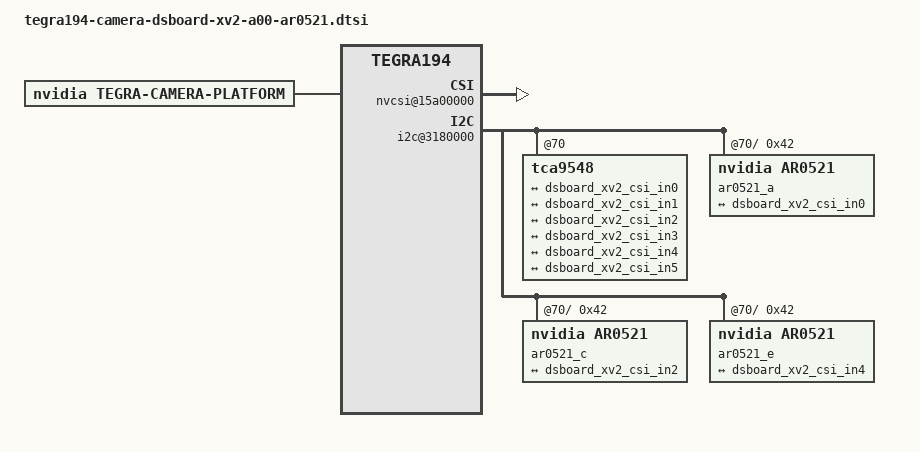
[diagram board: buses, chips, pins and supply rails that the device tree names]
/*
 * Copyright (c) 2015-2019, NVIDIA CORPORATION.  All rights reserved.
 *
 * This program is free software; you can redistribute it and/or modify
 * it under the terms of the GNU General Public License as published by
 * the Free Software Foundation; either version 2 of the License, or
 * (at your option) any later version.
 *
 * This program is distributed in the hope that it will be useful, but WITHOUT
 * ANY WARRANTY; without even the implied warranty of MERCHANTABILITY or
 * FITNESS FOR A PARTICULAR PURPOSE.  See the GNU General Public License for
 * more details.
 *
 * You should have received a copy of the GNU General Public License
 * along with this program.  If not, see <http://www.gnu.org/licenses/>.
 */

/ {
	host1x {
		vi@15c10000 {
			num-channels = <6>;
			ports {
				#address-cells = <1>;
				#size-cells = <0>;
				port@0 {
					status = "okay";
					reg = <0>;
					dsboard_xv2_vi_in0: endpoint {
						status = "okay";
						port-index = <0>;
						bus-width = <2>;
						remote-endpoint = <&dsboard_xv2_csi_out0>;
					};
				};
				port@1 {
					status = "disabled";
					reg = <1>;
					dsboard_xv2_vi_in1: endpoint {
						status = "disabled";
						port-index = <1>;
						bus-width = <2>;
						remote-endpoint = <&dsboard_xv2_csi_out1>;
					};
				};
				port@2 {
					status = "okay";
					reg = <2>;
					dsboard_xv2_vi_in2: endpoint {
						status = "okay";
						port-index = <2>;
						bus-width = <2>;
						remote-endpoint = <&dsboard_xv2_csi_out2>;
					};
				};
				port@3 {
					status = "disabled";
					reg = <3>;
					dsboard_xv2_vi_in3: endpoint {
						status = "disabled";
						port-index = <3>;
						bus-width = <2>;
						remote-endpoint = <&dsboard_xv2_csi_out3>;
					};
				};
				port@4 {
					status = "okay";
					reg = <4>;
					dsboard_xv2_vi_in4: endpoint {
						status = "okay";
						port-index = <4>;
						bus-width = <2>;
						remote-endpoint = <&dsboard_xv2_csi_out4>;
					};
				};
				port@5 {
					status="disabled";
					reg = <5>;
					dsboard_xv2_vi_in5: endpoint {
						status="disabled";
						port-index = <5>;
						bus-width = <2>;
						remote-endpoint = <&dsboard_xv2_csi_out5>;
					};
				};
			};
		};

		nvcsi@15a00000 {
			num-channels = <6>;
			#address-cells = <1>;
			#size-cells = <0>;
			status = "okay";
			channel@0 {
				status = "okay";
				reg = <0>;
				ports {
					#address-cells = <1>;
					#size-cells = <0>;
					port@0 {
						status = "okay";
						reg = <0>;
						dsboard_xv2_csi_in0: endpoint@0 {
							status = "okay";
							port-index = <0>;
							bus-width = <2>;
							remote-endpoint = <&dsboard_xv2_ar0521_out0>;
						};
					};
					port@1 {
						status = "okay";
						reg = <1>;
						dsboard_xv2_csi_out0: endpoint@1 {
							status = "okay";
							remote-endpoint = <&dsboard_xv2_vi_in0>;
						};
					};
				};
			};
			channel@1 {
				status = "disabled";
				reg = <1>;
				ports {
					#address-cells = <1>;
					#size-cells = <0>;
					port@0 {
						status = "disabled";
						reg = <0>;
						dsboard_xv2_csi_in1: endpoint@2 {
							status = "disabled";
							port-index = <1>;
							bus-width = <2>;
							remote-endpoint = <&dsboard_xv2_ar0521_out1>;
						};
					};
					port@1 {
						status = "disabled";
						reg = <1>;
						dsboard_xv2_csi_out1: endpoint@3 {
							status = "disabled";
							remote-endpoint = <&dsboard_xv2_vi_in1>;
						};
					};
				};
			};
			channel@2 {
				status = "okay";
				reg = <2>;
				ports {
					#address-cells = <1>;
					#size-cells = <0>;
					port@0 {
						status = "okay";
						reg = <0>;
						dsboard_xv2_csi_in2: endpoint@4 {
							status = "okay";
							port-index = <2>;
							bus-width = <2>;
							remote-endpoint = <&dsboard_xv2_ar0521_out2>;
						};
					};
					port@1 {
						status = "okay";
						reg = <1>;
						dsboard_xv2_csi_out2: endpoint@5 {
							status = "okay";
							remote-endpoint = <&dsboard_xv2_vi_in2>;
						};
					};
				};
			};
			channel@3 {
				status = "disabled";
				reg = <3>;
				ports {
					#address-cells = <1>;
					#size-cells = <0>;
					port@0 {
						status = "disabled";
						reg = <0>;
						dsboard_xv2_csi_in3: endpoint@6 {
							status = "disabled";
							port-index = <3>;
							bus-width = <2>;
							remote-endpoint = <&dsboard_xv2_ar0521_out3>;
						};
					};
					port@1 {
						status = "disabled";
						reg = <1>;
						dsboard_xv2_csi_out3: endpoint@7 {
							status = "disabled";
							remote-endpoint = <&dsboard_xv2_vi_in3>;
						};
					};
				};
			};
			channel@4 {
				status = "okay";
				reg = <4>;
				ports {
					#address-cells = <1>;
					#size-cells = <0>;
					port@0 {
						status = "okay";
						reg = <0>;
						dsboard_xv2_csi_in4: endpoint@8 {
							status = "okay";
							port-index = <4>;
							bus-width = <2>;
							remote-endpoint = <&dsboard_xv2_ar0521_out4>;
						};
					};
					port@1 {
						status = "okay";
						reg = <1>;
						dsboard_xv2_csi_out4: endpoint@9 {
							status = "okay";
							remote-endpoint = <&dsboard_xv2_vi_in4>;
						};
					};
				};
			};
			channel@5 { //in next board revision, the port-index should be updated to 6-G.
				status="disabled";
				reg = <5>;
				ports {
					#address-cells = <1>;
					#size-cells = <0>;
					port@0 {
						status="disabled";
						reg = <0>;
						dsboard_xv2_csi_in5: endpoint@10 {
							status="disabled";
							port-index = <5>;
							bus-width = <2>;
							remote-endpoint = <&dsboard_xv2_ar0521_out5>;
						};
					};
					port@1 {
						status="disabled";
						reg = <1>;
						dsboard_xv2_csi_out5: endpoint@11 {
							status="disabled";
							remote-endpoint = <&dsboard_xv2_vi_in5>;
						};
					};
				};
			};
		};
	};

	i2c@3180000 {
		tca9548@70 {
			i2c@0 {
				status = "okay";

				ar0521_a@42 {
					compatible = "nvidia,ar0521";
					/* I2C device address */
					reg = <0x42>;

					/* V4L2 device node location */
					devnode = "video0";
					status = "okay";

					/* Physical dimensions of sensor */
					physical_w = "3.680";
					physical_h = "2.760";

					sensor_model = "ar0521";

					//Default use_sensor_mode_id is false
					/*use_sensor_mode_id = "false";*/
					camera_mipi_lanes = <2>;
					disable-framesync;

					/**
					* ==== Modes ====
					* A modeX node is required to support v4l2 driver
					* implementation with NVIDIA camera software stack
					*
					* == Signal properties ==
					*
					* phy_mode = "";
					* PHY mode used by the MIPI lanes for this device
					*
					* tegra_sinterface = "";
					* CSI Serial interface connected to tegra
					* Incase of virtual HW devices, use virtual
					* For SW emulated devices, use host
					*
					* pix_clk_hz = "";
					* Sensor pixel clock used for calculations like exposure and framerate
					*
					* readout_orientation = "0";
					* Based on camera module orientation.
					* Only change readout_orientation if you specifically
					* Program a different readout order for this mode
					*
					* == Image format Properties ==
					*
					* active_w = "";
					* Pixel active region width
					*
					* active_h = "";
					* Pixel active region height
					*
					* pixel_t = "";
					* The sensor readout pixel pattern
					*
					* line_length = "";
					* Pixel line length (width) for sensor mode.
					*
					* == Source Control Settings ==
					*
					* Gain factor used to convert fixed point integer to float
					* Gain range [min_gain/gain_factor, max_gain/gain_factor]
					* Gain step [step_gain/gain_factor is the smallest step that can be configured]
					* Default gain [Default gain to be initialized for the control.
					*     use min_gain_val as default for optimal results]
					* Framerate factor used to convert fixed point integer to float
					* Framerate range [min_framerate/framerate_factor, max_framerate/framerate_factor]
					* Framerate step [step_framerate/framerate_factor is the smallest step that can be configured]
					* Default Framerate [Default framerate to be initialized for the control.
					*     use max_framerate to get required performance]
					* Exposure factor used to convert fixed point integer to float
					* For convenience use 1 sec = 1000000us as conversion factor
					* Exposure range [min_exp_time/exposure_factor, max_exp_time/exposure_factor]
					* Exposure step [step_exp_time/exposure_factor is the smallest step that can be configured]
					* Default Exposure Time [Default exposure to be initialized for the control.
					*     Set default exposure based on the default_framerate for optimal exposure settings]
					*
					* gain_factor = ""; (integer factor used for floating to fixed point conversion)
					* min_gain_val = ""; (ceil to integer)
					* max_gain_val = ""; (ceil to integer)
					* step_gain_val = ""; (ceil to integer)
					* default_gain = ""; (ceil to integer)
					* Gain limits for mode
					*
					* exposure_factor = ""; (integer factor used for floating to fixed point conversion)
					* min_exp_time = ""; (ceil to integer)
					* max_exp_time = ""; (ceil to integer)
					* step_exp_time = ""; (ceil to integer)
					* default_exp_time = ""; (ceil to integer)
					* Exposure Time limits for mode (sec)
					*
					* framerate_factor = ""; (integer factor used for floating to fixed point conversion)
					* min_framerate = ""; (ceil to integer)
					* max_framerate = ""; (ceil to integer)
					* step_framerate = ""; (ceil to integer)
					* default_framerate = ""; (ceil to integer)
					* Framerate limits for mode (fps)
					*
					* embedded_metadata_height = "";
					* Sensor embedded metadata height in units of rows.
					* If sensor does not support embedded metadata value should be 0.
					*/
					mode0 { /* AR0521_MODE_640x480_75FPS */
						mclk_khz = "48000";
						num_lanes = "2";
						tegra_sinterface = "serial_a";
						phy_mode = "DPHY";
						discontinuous_clk = "yes";
						dpcm_enable = "false";
						cil_settletime = "0";
						dynamic_pixel_bit_depth = "16";
						csi_pixel_bit_depth = "16";
						mode_type = "yuv";

						active_w = "640";
						active_h = "480";
						/* pixel_t = "uyvy";*/
						pixel_phase = "uyvy";
						readout_orientation = "0";
						line_length = "2000";
						inherent_gain = "1";
						mclk_multiplier = "18";
						pix_clk_hz = "1200000000";

						min_gain_val = "0";
						max_gain_val = "48"; /* 10.66x */
						step_gain_val = "1";
						default_gain = "16"; /* 1.00x */
						min_hdr_ratio = "1";
						max_hdr_ratio = "1";
						min_framerate = "1"; /* 2.0 fps */
						max_framerate = "75"; /* 21.0 fps */
						step_framerate = "1";
						default_framerate = "21000000"; /* 21.0 fps */
						min_exp_time = "1"; /* us */
						max_exp_time = "43000000"; /* us */

						embedded_metadata_height = "0";
					};
					mode1 { /* AR0521_MODE_1280x720_100FPS */
						mclk_khz = "48000";
						num_lanes = "2";
						tegra_sinterface = "serial_a";
						phy_mode = "DPHY";
						discontinuous_clk = "yes";
						dpcm_enable = "false";
						cil_settletime = "0";
						dynamic_pixel_bit_depth = "16";
						csi_pixel_bit_depth = "16";
						active_w = "1280";
						active_h = "720";
						pixel_phase = "uyvy";
						mode_type = "yuv";
						/*pixel_t = "bayer_rggb";*/
						readout_orientation = "0";
						line_length = "2000";
						inherent_gain = "1";
						mclk_multiplier = "18";
						pix_clk_hz = "1200000000";

						min_gain_val = "0"; /* 1.00x */
						max_gain_val = "48"; /* 10.66x */
						min_hdr_ratio = "1";
						max_hdr_ratio = "1";
						min_framerate = "1"; /* 2.0 fps */
						max_framerate = "100"; /* 28.0 fps */
						min_exp_time = "1"; /* us */
						max_exp_time = "430000"; /* us */

						embedded_metadata_height = "0";
					};
					mode2 { /* AR0521_MODE_1280x960_75FPS */
						mclk_khz = "48000";
						num_lanes = "2";
						tegra_sinterface = "serial_a";
						phy_mode = "DPHY";
						discontinuous_clk = "yes";
						dpcm_enable = "false";
						cil_settletime = "0";
						csi_pixel_bit_depth = "16";
						active_w = "1280";
						active_h = "960";
						/*pixel_t = "uyvy";*/
						pixel_phase = "uyvy";
						mode_type = "yuv";
						readout_orientation = "0";
						line_length = "2000";
						inherent_gain = "1";
						mclk_multiplier = "18";
						pix_clk_hz = "1200000000";

						min_gain_val = "0"; /* 1.00x */
						max_gain_val = "48"; /* 10.66x */
						min_hdr_ratio = "1";
						max_hdr_ratio = "1";
						min_framerate = "1"; /* 2.0 fps */
						max_framerate = "75"; /* 75.0 fps */
						default_framerate = "30000000"; /* 30.0 fps */
						min_exp_time = "13"; /* us */
						max_exp_time = "683709"; /* us */
						step_exp_time = "1";
						embedded_metadata_height = "0";
					};
					mode3 { /* AR0521_MODE_1920x1080_67FPS */
						mclk_khz = "48000";
						num_lanes = "2";
						tegra_sinterface = "serial_a";
						phy_mode = "DPHY";
						discontinuous_clk = "yes";
						dpcm_enable = "false";
						cil_settletime = "0";
						dynamic_pixel_bit_depth = "16";
						csi_pixel_bit_depth = "16";
						active_w = "1920";
						active_h = "1080";
						/* pixel_t = "uyvy";*/
						pixel_phase = "uyvy";
						mode_type = "yuv";
						readout_orientation = "0";
						line_length = "2000";
						inherent_gain = "1";
						mclk_multiplier = "18";
						pix_clk_hz = "1200000000";

						min_gain_val = "0";  /*dB*/
						max_gain_val = "48"; /*dB*/
						min_hdr_ratio = "1";
						max_hdr_ratio = "1";
						min_framerate = "1"; /* 1 fps */
						max_framerate = "67"; /* 67.0 fps */

						min_exp_time = "1";
						max_exp_time = "430000";

						embedded_metadata_height = "0";
					};
					mode4 { /* Ar0521_MODE_2560x1440_38FPS */
						mclk_khz = "48000";
						num_lanes = "2";
						tegra_sinterface = "serial_a";
						phy_mode = "DPHY";
						discontinuous_clk = "yes";
						dpcm_enable = "false";
						cil_settletime = "0";
						dynamic_pixel_bit_depth = "16";
						csi_pixel_bit_depth = "16";
						active_w = "2560";
						active_h = "1440";
						/* pixel_t = "uyvy"; */
						mode_type = "yuv";
						pixel_phase = "uyvy";
						readout_orientation = "0";
						line_length = "2000";
						inherent_gain = "1";
						mclk_multiplier = "18";
						pix_clk_hz = "1200000000";

						min_gain_val = "0";
						max_gain_val = "48"; /*dB*/
						min_hdr_ratio = "1";
						max_hdr_ratio = "1";
						min_framerate = "1"; /* 1 fps */
						max_framerate = "38"; /* 38fps */
						min_exp_time = "1"; /* us */
						max_exp_time = "430000"; /* us */
						embedded_metadata_height = "0";
					};
					mode5 { /* Ar0521_MODE_2592x1944_28FPS */
						mclk_khz = "48000";
						num_lanes = "2";
						tegra_sinterface = "serial_a";
						phy_mode = "DPHY";
						discontinuous_clk = "yes";
						dpcm_enable = "false";
						cil_settletime = "0";
						dynamic_pixel_bit_depth = "16";
						csi_pixel_bit_depth = "16";
						active_w = "2592";
						active_h = "1944";
						/* pixel_t = "uyvy"; */
						mode_type = "yuv";
						pixel_phase = "uyvy";
						readout_orientation = "0";
						line_length = "2000";
						inherent_gain = "1";
						mclk_multiplier = "18";
						pix_clk_hz = "1200000000";

						min_gain_val = "0";
						max_gain_val = "48"; /*dB*/
						min_hdr_ratio = "1";
						max_hdr_ratio = "1";
						min_framerate = "1"; /* 1 fps */
						max_framerate = "28"; /* 38fps */
						min_exp_time = "1"; /* us */
						max_exp_time = "430000"; /* us */
						embedded_metadata_height = "0";
					};

					ports {
						#address-cells = <1>;
						#size-cells = <0>;

						port@0 {
							status = "okay";
							reg = <0>;
							dsboard_xv2_ar0521_out0: endpoint {
								status = "okay";
								port-index = <0>;
								bus-width = <2>;
								remote-endpoint = <&dsboard_xv2_csi_in0>;
							};
						};
					};
				};
			};

			i2c@1 {
				ar0521_b@42 {
					compatible = "nvidia,ar0521";
					/* I2C device address */
					reg = <0x42>;

					/* V4L2 device node location */
					devnode = "video1";
					status = "disabled";

					/* Physical dimensions of sensor */
					physical_w = "3.680";
					physical_h = "2.760";

					sensor_model = "ar0521";
					camera_mipi_lanes = <2>;
					disable-framesync;
					// Default use_sensor_mode_id is false
					/*use_sensor_mode_id = "false";*/

					/**
					* ==== Modes ====
					* A modeX node is required to support v4l2 driver
					* implementation with NVIDIA camera software stack
					*
					* == Signal properties ==
					*
					* phy_mode = "";
					* PHY mode used by the MIPI lanes for this device
					*
					* tegra_sinterface = "";
					* CSI Serial interface connected to tegra
					* Incase of virtual HW devices, use virtual
					* For SW emulated devices, use host
					*
					* pix_clk_hz = "";
					* Sensor pixel clock used for calculations like exposure and framerate
					*
					* readout_orientation = "0";
					* Based on camera module orientation.
					* Only change readout_orientation if you specifically
					* Program a different readout order for this mode
					*
					* == Image format Properties ==
					*
					* active_w = "";
					* Pixel active region width
					*
					* active_h = "";
					* Pixel active region height
					*
					* pixel_t = "";
					* The sensor readout pixel pattern
					*
					* line_length = "";
					* Pixel line length (width) for sensor mode.
					*
					* == Source Control Settings ==
					*
					* Gain factor used to convert fixed point integer to float
					* Gain range [min_gain/gain_factor, max_gain/gain_factor]
					* Gain step [step_gain/gain_factor is the smallest step that can be configured]
					* Default gain [Default gain to be initialized for the control.
					*     use min_gain_val as default for optimal results]
					* Framerate factor used to convert fixed point integer to float
					* Framerate range [min_framerate/framerate_factor, max_framerate/framerate_factor]
					* Framerate step [step_framerate/framerate_factor is the smallest step that can be configured]
					* Default Framerate [Default framerate to be initialized for the control.
					*     use max_framerate to get required performance]
					* Exposure factor used to convert fixed point integer to float
					* For convenience use 1 sec = 1000000us as conversion factor
					* Exposure range [min_exp_time/exposure_factor, max_exp_time/exposure_factor]
					* Exposure step [step_exp_time/exposure_factor is the smallest step that can be configured]
					* Default Exposure Time [Default exposure to be initialized for the control.
					*     Set default exposure based on the default_framerate for optimal exposure settings]
					*
					* gain_factor = ""; (integer factor used for floating to fixed point conversion)
					* min_gain_val = ""; (ceil to integer)
					* max_gain_val = ""; (ceil to integer)
					* step_gain_val = ""; (ceil to integer)
					* default_gain = ""; (ceil to integer)
					* Gain limits for mode
					*
					* exposure_factor = ""; (integer factor used for floating to fixed point conversion)
					* min_exp_time = ""; (ceil to integer)
					* max_exp_time = ""; (ceil to integer)
					* step_exp_time = ""; (ceil to integer)
					* default_exp_time = ""; (ceil to integer)
					* Exposure Time limits for mode (sec)
					*
					* framerate_factor = ""; (integer factor used for floating to fixed point conversion)
					* min_framerate = ""; (ceil to integer)
					* max_framerate = ""; (ceil to integer)
					* step_framerate = ""; (ceil to integer)
					* default_framerate = ""; (ceil to integer)
					* Framerate limits for mode (fps)
					*
					* embedded_metadata_height = "";
					* Sensor embedded metadata height in units of rows.
					* If sensor does not support embedded metadata value should be 0.
					*/
					mode0 { /* AR0521_MODE_640x480_75FPS */
						mclk_khz = "48000";
						num_lanes = "2";
						tegra_sinterface = "serial_b";
						phy_mode = "DPHY";
						discontinuous_clk = "yes";
						dpcm_enable = "false";
						cil_settletime = "0";
						dynamic_pixel_bit_depth = "16";
						csi_pixel_bit_depth = "16";
						mode_type = "yuv";

						active_w = "640";
						active_h = "480";
						/* pixel_t = "uyvy";*/
						pixel_phase = "uyvy";
						readout_orientation = "0";
						line_length = "2000";
						inherent_gain = "1";
						mclk_multiplier = "18";
						pix_clk_hz = "1200000000";

						min_gain_val = "0";
						max_gain_val = "48"; /* 10.66x */
						step_gain_val = "1";
						default_gain = "16"; /* 1.00x */
						min_hdr_ratio = "1";
						max_hdr_ratio = "1";
						min_framerate = "1"; /* 2.0 fps */
						max_framerate = "75"; /* 21.0 fps */
						step_framerate = "1";
						default_framerate = "21000000"; /* 21.0 fps */
						min_exp_time = "1"; /* us */
						max_exp_time = "43000000"; /* us */

						embedded_metadata_height = "0";
					};
					mode1 { /* AR0521_MODE_1280x720_100FPS */
						mclk_khz = "48000";
						num_lanes = "2";
						tegra_sinterface = "serial_b";
						phy_mode = "DPHY";
						discontinuous_clk = "yes";
						dpcm_enable = "false";
						cil_settletime = "0";
						dynamic_pixel_bit_depth = "16";
						csi_pixel_bit_depth = "16";
						active_w = "1280";
						active_h = "720";
						pixel_phase = "uyvy";
						mode_type = "yuv";
						/*pixel_t = "bayer_rggb";*/
						readout_orientation = "0";
						line_length = "2000";
						inherent_gain = "1";
						mclk_multiplier = "18";
						pix_clk_hz = "1200000000";

						min_gain_val = "0"; /* 1.00x */
						max_gain_val = "48"; /* 10.66x */
						min_hdr_ratio = "1";
						max_hdr_ratio = "1";
						min_framerate = "1"; /* 2.0 fps */
						max_framerate = "100"; /* 28.0 fps */
						min_exp_time = "1"; /* us */
						max_exp_time = "430000"; /* us */

						embedded_metadata_height = "0";
					};
					mode2 { /* AR0521_MODE_1280x960_75FPS */
						mclk_khz = "48000";
						num_lanes = "2";
						tegra_sinterface = "serial_b";
						phy_mode = "DPHY";
						discontinuous_clk = "yes";
						dpcm_enable = "false";
						cil_settletime = "0";
						csi_pixel_bit_depth = "16";
						active_w = "1280";
						active_h = "960";
						/*pixel_t = "uyvy";*/
						pixel_phase = "uyvy";
						mode_type = "yuv";
						readout_orientation = "0";
						line_length = "2000";
						inherent_gain = "1";
						mclk_multiplier = "18";
						pix_clk_hz = "1200000000";

						min_gain_val = "0"; /* 1.00x */
						max_gain_val = "48"; /* 10.66x */
						min_hdr_ratio = "1";
						max_hdr_ratio = "1";
						min_framerate = "1"; /* 2.0 fps */
						max_framerate = "75"; /* 75.0 fps */
						default_framerate = "30000000"; /* 30.0 fps */
						min_exp_time = "13"; /* us */
						max_exp_time = "683709"; /* us */
						step_exp_time = "1";
						embedded_metadata_height = "0";
					};
					mode3 { /* AR0521_MODE_1920x1080_67FPS */
						mclk_khz = "48000";
						num_lanes = "2";
						tegra_sinterface = "serial_b";
						phy_mode = "DPHY";
						discontinuous_clk = "yes";
						dpcm_enable = "false";
						cil_settletime = "0";
						dynamic_pixel_bit_depth = "16";
						csi_pixel_bit_depth = "16";
						active_w = "1920";
						active_h = "1080";
						/* pixel_t = "uyvy";*/
						pixel_phase = "uyvy";
						mode_type = "yuv";
						readout_orientation = "0";
						line_length = "2000";
						inherent_gain = "1";
						mclk_multiplier = "18";
						pix_clk_hz = "1200000000";

						min_gain_val = "0";  /*dB*/
						max_gain_val = "48"; /*dB*/
						min_hdr_ratio = "1";
						max_hdr_ratio = "1";
						min_framerate = "1"; /* 1 fps */
						max_framerate = "67"; /* 67.0 fps */

						min_exp_time = "1";
						max_exp_time = "430000";

						embedded_metadata_height = "0";
					};
					mode4 { /* Ar0521_MODE_2560x1440_38FPS */
						mclk_khz = "48000";
						num_lanes = "2";
						tegra_sinterface = "serial_b";
						phy_mode = "DPHY";
						discontinuous_clk = "yes";
						dpcm_enable = "false";
						cil_settletime = "0";
						dynamic_pixel_bit_depth = "16";
						csi_pixel_bit_depth = "16";
						active_w = "2560";
						active_h = "1440";
						/* pixel_t = "uyvy"; */
						mode_type = "yuv";
						pixel_phase = "uyvy";
						readout_orientation = "0";
						line_length = "2000";
						inherent_gain = "1";
						mclk_multiplier = "18";
						pix_clk_hz = "1200000000";

						min_gain_val = "0";
						max_gain_val = "48"; /*dB*/
						min_hdr_ratio = "1";
						max_hdr_ratio = "1";
						min_framerate = "1"; /* 1 fps */
						max_framerate = "38"; /* 38fps */
						min_exp_time = "1"; /* us */
						max_exp_time = "430000"; /* us */
						embedded_metadata_height = "0";
					};
					mode5 { /* Ar0521_MODE_2592x1944_28FPS */
						mclk_khz = "48000";
						num_lanes = "2";
						tegra_sinterface = "serial_b";
						phy_mode = "DPHY";
						discontinuous_clk = "yes";
						dpcm_enable = "false";
						cil_settletime = "0";
						dynamic_pixel_bit_depth = "16";
						csi_pixel_bit_depth = "16";
						active_w = "2592";
						active_h = "1944";
						/* pixel_t = "uyvy"; */
						mode_type = "yuv";
						pixel_phase = "uyvy";
						readout_orientation = "0";
						line_length = "2000";
						inherent_gain = "1";
						mclk_multiplier = "18";
						pix_clk_hz = "1200000000";

						min_gain_val = "0";
						max_gain_val = "48"; /*dB*/
						min_hdr_ratio = "1";
						max_hdr_ratio = "1";
						min_framerate = "1"; /* 1 fps */
						max_framerate = "28"; /* 38fps */
						min_exp_time = "1"; /* us */
						max_exp_time = "430000"; /* us */
						embedded_metadata_height = "0";
					};

					ports {
						#address-cells = <1>;
						#size-cells = <0>;

						port@0 {
							reg = <0>;
							dsboard_xv2_ar0521_out1: endpoint {
								port-index = <1>;
								bus-width = <2>;
								remote-endpoint = <&dsboard_xv2_csi_in1>;
							};
						};
					};
				};
			};

			i2c@2 {
				ar0521_c@42 {
					compatible = "nvidia,ar0521";
					/* I2C device address */
					reg = <0x42>;

					/* V4L2 device node location */
					devnode = "video2";
					status = "okay";

					/* Physical dimensions of sensor */
					physical_w = "3.680";
					physical_h = "2.760";

					sensor_model = "ar0521";
					camera_mipi_lanes = <2>;
					disable-framesync;
					// Default use_sensor_mode_id is false
					/*use_sensor_mode_id = "false";*/

					/**
					* ==== Modes ====
					* A modeX node is required to support v4l2 driver
					* implementation with NVIDIA camera software stack
					*
					* == Signal properties ==
					*
					* phy_mode = "";
					* PHY mode used by the MIPI lanes for this device
					*
					* tegra_sinterface = "";
					* CSI Serial interface connected to tegra
					* Incase of virtual HW devices, use virtual
					* For SW emulated devices, use host
					*
					* pix_clk_hz = "";
					* Sensor pixel clock used for calculations like exposure and framerate
					*
					* readout_orientation = "0";
					* Based on camera module orientation.
					* Only change readout_orientation if you specifically
					* Program a different readout order for this mode
					*
					* == Image format Properties ==
					*
					* active_w = "";
					* Pixel active region width
					*
					* active_h = "";
					* Pixel active region height
					*
					* pixel_t = "";
					* The sensor readout pixel pattern
					*
					* line_length = "";
					* Pixel line length (width) for sensor mode.
					*
					* == Source Control Settings ==
					*
					* Gain factor used to convert fixed point integer to float
					* Gain range [min_gain/gain_factor, max_gain/gain_factor]
					* Gain step [step_gain/gain_factor is the smallest step that can be configured]
					* Default gain [Default gain to be initialized for the control.
					*     use min_gain_val as default for optimal results]
					* Framerate factor used to convert fixed point integer to float
					* Framerate range [min_framerate/framerate_factor, max_framerate/framerate_factor]
					* Framerate step [step_framerate/framerate_factor is the smallest step that can be configured]
					* Default Framerate [Default framerate to be initialized for the control.
					*     use max_framerate to get required performance]
					* Exposure factor used to convert fixed point integer to float
					* For convenience use 1 sec = 1000000us as conversion factor
					* Exposure range [min_exp_time/exposure_factor, max_exp_time/exposure_factor]
					* Exposure step [step_exp_time/exposure_factor is the smallest step that can be configured]
					* Default Exposure Time [Default exposure to be initialized for the control.
					*     Set default exposure based on the default_framerate for optimal exposure settings]
					*
					* gain_factor = ""; (integer factor used for floating to fixed point conversion)
					* min_gain_val = ""; (ceil to integer)
					* max_gain_val = ""; (ceil to integer)
					* step_gain_val = ""; (ceil to integer)
					* default_gain = ""; (ceil to integer)
					* Gain limits for mode
					*
					* exposure_factor = ""; (integer factor used for floating to fixed point conversion)
					* min_exp_time = ""; (ceil to integer)
					* max_exp_time = ""; (ceil to integer)
					* step_exp_time = ""; (ceil to integer)
					* default_exp_time = ""; (ceil to integer)
					* Exposure Time limits for mode (sec)
					*
					* framerate_factor = ""; (integer factor used for floating to fixed point conversion)
					* min_framerate = ""; (ceil to integer)
					* max_framerate = ""; (ceil to integer)
					* step_framerate = ""; (ceil to integer)
					* default_framerate = ""; (ceil to integer)
					* Framerate limits for mode (fps)
					*
					* embedded_metadata_height = "";
					* Sensor embedded metadata height in units of rows.
					* If sensor does not support embedded metadata value should be 0.
					*/
					mode0 { /* AR0521_MODE_640x480_75FPS */
						mclk_khz = "48000";
						num_lanes = "2";
						tegra_sinterface = "serial_c";
						phy_mode = "DPHY";
						discontinuous_clk = "yes";
						dpcm_enable = "false";
						cil_settletime = "0";
						dynamic_pixel_bit_depth = "16";
						csi_pixel_bit_depth = "16";
						mode_type = "yuv";

						active_w = "640";
						active_h = "480";
						/* pixel_t = "uyvy";*/
						pixel_phase = "uyvy";
						readout_orientation = "0";
						line_length = "2000";
						inherent_gain = "1";
						mclk_multiplier = "18";
						pix_clk_hz = "1200000000";

						min_gain_val = "0";
						max_gain_val = "48"; /* 10.66x */
						step_gain_val = "1";
						default_gain = "16"; /* 1.00x */
						min_hdr_ratio = "1";
						max_hdr_ratio = "1";
						min_framerate = "1"; /* 2.0 fps */
						max_framerate = "75"; /* 21.0 fps */
						step_framerate = "1";
						default_framerate = "21000000"; /* 21.0 fps */
						min_exp_time = "1"; /* us */
						max_exp_time = "43000000"; /* us */

						embedded_metadata_height = "0";
					};
					mode1 { /* AR0521_MODE_1280x720_100FPS */
						mclk_khz = "48000";
						num_lanes = "2";
						tegra_sinterface = "serial_c";
						phy_mode = "DPHY";
						discontinuous_clk = "yes";
						dpcm_enable = "false";
						cil_settletime = "0";
						dynamic_pixel_bit_depth = "16";
						csi_pixel_bit_depth = "16";
						active_w = "1280";
						active_h = "720";
						pixel_phase = "uyvy";
						mode_type = "yuv";
						/*pixel_t = "bayer_rggb";*/
						readout_orientation = "0";
						line_length = "2000";
						inherent_gain = "1";
						mclk_multiplier = "18";
						pix_clk_hz = "1200000000";

						min_gain_val = "0"; /* 1.00x */
						max_gain_val = "48"; /* 10.66x */
						min_hdr_ratio = "1";
						max_hdr_ratio = "1";
						min_framerate = "1"; /* 2.0 fps */
						max_framerate = "100"; /* 28.0 fps */
						min_exp_time = "1"; /* us */
						max_exp_time = "430000"; /* us */

						embedded_metadata_height = "0";
					};
					mode2 { /* AR0521_MODE_1280x960_75FPS */
						mclk_khz = "48000";
						num_lanes = "2";
						tegra_sinterface = "serial_c";
						phy_mode = "DPHY";
						discontinuous_clk = "yes";
						dpcm_enable = "false";
						cil_settletime = "0";
						csi_pixel_bit_depth = "16";
						active_w = "1280";
						active_h = "960";
						/*pixel_t = "uyvy";*/
						pixel_phase = "uyvy";
						mode_type = "yuv";
						readout_orientation = "0";
						line_length = "2000";
						inherent_gain = "1";
						mclk_multiplier = "18";
						pix_clk_hz = "1200000000";

						min_gain_val = "0"; /* 1.00x */
						max_gain_val = "48"; /* 10.66x */
						min_hdr_ratio = "1";
						max_hdr_ratio = "1";
						min_framerate = "1"; /* 2.0 fps */
						max_framerate = "75"; /* 75.0 fps */
						default_framerate = "30000000"; /* 30.0 fps */
						min_exp_time = "13"; /* us */
						max_exp_time = "683709"; /* us */
						step_exp_time = "1";
						embedded_metadata_height = "0";
					};
					mode3 { /* AR0521_MODE_1920x1080_67FPS */
						mclk_khz = "48000";
						num_lanes = "2";
						tegra_sinterface = "serial_c";
						phy_mode = "DPHY";
						discontinuous_clk = "yes";
						dpcm_enable = "false";
						cil_settletime = "0";
						dynamic_pixel_bit_depth = "16";
						csi_pixel_bit_depth = "16";
						active_w = "1920";
						active_h = "1080";
						/* pixel_t = "uyvy";*/
						pixel_phase = "uyvy";
						mode_type = "yuv";
						readout_orientation = "0";
						line_length = "2000";
						inherent_gain = "1";
						mclk_multiplier = "18";
						pix_clk_hz = "1200000000";

						min_gain_val = "0";  /*dB*/
						max_gain_val = "48"; /*dB*/
						min_hdr_ratio = "1";
						max_hdr_ratio = "1";
						min_framerate = "1"; /* 1 fps */
						max_framerate = "67"; /* 67.0 fps */

						min_exp_time = "1";
						max_exp_time = "430000";

						embedded_metadata_height = "0";
					};
					mode4 { /* Ar0521_MODE_2560x1440_38FPS */
						mclk_khz = "48000";
						num_lanes = "2";
						tegra_sinterface = "serial_c";
						phy_mode = "DPHY";
						discontinuous_clk = "yes";
						dpcm_enable = "false";
						cil_settletime = "0";
						dynamic_pixel_bit_depth = "16";
						csi_pixel_bit_depth = "16";
						active_w = "2560";
						active_h = "1440";
						/* pixel_t = "uyvy"; */
						mode_type = "yuv";
						pixel_phase = "uyvy";
						readout_orientation = "0";
						line_length = "2000";
						inherent_gain = "1";
						mclk_multiplier = "18";
						pix_clk_hz = "1200000000";

						min_gain_val = "0";
						max_gain_val = "48"; /*dB*/
						min_hdr_ratio = "1";
						max_hdr_ratio = "1";
						min_framerate = "1"; /* 1 fps */
						max_framerate = "38"; /* 38fps */
						min_exp_time = "1"; /* us */
						max_exp_time = "430000"; /* us */
						embedded_metadata_height = "0";
					};
					mode5 { /* Ar0521_MODE_2592x1944_28FPS */
						mclk_khz = "48000";
						num_lanes = "2";
						tegra_sinterface = "serial_c";
						phy_mode = "DPHY";
						discontinuous_clk = "yes";
						dpcm_enable = "false";
						cil_settletime = "0";
						dynamic_pixel_bit_depth = "16";
						csi_pixel_bit_depth = "16";
						active_w = "2592";
						active_h = "1944";
						/* pixel_t = "uyvy"; */
						mode_type = "yuv";
						pixel_phase = "uyvy";
						readout_orientation = "0";
						line_length = "2000";
						inherent_gain = "1";
						mclk_multiplier = "18";
						pix_clk_hz = "1200000000";

						min_gain_val = "0";
						max_gain_val = "48"; /*dB*/
						min_hdr_ratio = "1";
						max_hdr_ratio = "1";
						min_framerate = "1"; /* 1 fps */
						max_framerate = "28"; /* 38fps */
						min_exp_time = "1"; /* us */
						max_exp_time = "430000"; /* us */
						embedded_metadata_height = "0";
					};

					ports {
						#address-cells = <1>;
						#size-cells = <0>;

						port@0 {
							reg = <0>;
							dsboard_xv2_ar0521_out2: endpoint {
								port-index = <2>;
								bus-width = <2>;
								remote-endpoint = <&dsboard_xv2_csi_in2>;
							};
						};
					};
				};
			};

			i2c@3 {
				ar0521_d@42 {
					compatible = "nvidia,ar0521";
					/* I2C device address */
					reg = <0x42>;

					/* V4L2 device node location */
					devnode = "video3";
					status = "disabled";

					/* Physical dimensions of sensor */
					physical_w = "3.680";
					physical_h = "2.760";

					sensor_model = "ar0521";
					camera_mipi_lanes = <2>;
					disable-framesync;
					// Default use_sensor_mode_id is false
					/*use_sensor_mode_id = "false";*/

					/**
					* ==== Modes ====
					* A modeX node is required to support v4l2 driver
					* implementation with NVIDIA camera software stack
					*
					* == Signal properties ==
					*
					* phy_mode = "";
					* PHY mode used by the MIPI lanes for this device
					*
					* tegra_sinterface = "";
					* CSI Serial interface connected to tegra
					* Incase of virtual HW devices, use virtual
					* For SW emulated devices, use host
					*
					* pix_clk_hz = "";
					* Sensor pixel clock used for calculations like exposure and framerate
					*
					* readout_orientation = "0";
					* Based on camera module orientation.
					* Only change readout_orientation if you specifically
					* Program a different readout order for this mode
					*
					* == Image format Properties ==
					*
					* active_w = "";
					* Pixel active region width
					*
					* active_h = "";
					* Pixel active region height
					*
					* pixel_t = "";
					* The sensor readout pixel pattern
					*
					* line_length = "";
					* Pixel line length (width) for sensor mode.
					*
					* == Source Control Settings ==
					*
					* Gain factor used to convert fixed point integer to float
					* Gain range [min_gain/gain_factor, max_gain/gain_factor]
					* Gain step [step_gain/gain_factor is the smallest step that can be configured]
					* Default gain [Default gain to be initialized for the control.
					*     use min_gain_val as default for optimal results]
					* Framerate factor used to convert fixed point integer to float
					* Framerate range [min_framerate/framerate_factor, max_framerate/framerate_factor]
					* Framerate step [step_framerate/framerate_factor is the smallest step that can be configured]
					* Default Framerate [Default framerate to be initialized for the control.
					*     use max_framerate to get required performance]
					* Exposure factor used to convert fixed point integer to float
					* For convenience use 1 sec = 1000000us as conversion factor
					* Exposure range [min_exp_time/exposure_factor, max_exp_time/exposure_factor]
					* Exposure step [step_exp_time/exposure_factor is the smallest step that can be configured]
					* Default Exposure Time [Default exposure to be initialized for the control.
					*     Set default exposure based on the default_framerate for optimal exposure settings]
					*
					* gain_factor = ""; (integer factor used for floating to fixed point conversion)
					* min_gain_val = ""; (ceil to integer)
					* max_gain_val = ""; (ceil to integer)
					* step_gain_val = ""; (ceil to integer)
					* default_gain = ""; (ceil to integer)
					* Gain limits for mode
					*
					* exposure_factor = ""; (integer factor used for floating to fixed point conversion)
					* min_exp_time = ""; (ceil to integer)
					* max_exp_time = ""; (ceil to integer)
					* step_exp_time = ""; (ceil to integer)
					* default_exp_time = ""; (ceil to integer)
					* Exposure Time limits for mode (sec)
					*
					* framerate_factor = ""; (integer factor used for floating to fixed point conversion)
					* min_framerate = ""; (ceil to integer)
					* max_framerate = ""; (ceil to integer)
					* step_framerate = ""; (ceil to integer)
					* default_framerate = ""; (ceil to integer)
					* Framerate limits for mode (fps)
					*
					* embedded_metadata_height = "";
					* Sensor embedded metadata height in units of rows.
					* If sensor does not support embedded metadata value should be 0.
					*/
					mode0 { /* AR0521_MODE_640x480_75FPS */
						mclk_khz = "48000";
						num_lanes = "2";
						tegra_sinterface = "serial_d";
						phy_mode = "DPHY";
						discontinuous_clk = "yes";
						dpcm_enable = "false";
						cil_settletime = "0";
						dynamic_pixel_bit_depth = "16";
						csi_pixel_bit_depth = "16";
						mode_type = "yuv";

						active_w = "640";
						active_h = "480";
						/* pixel_t = "uyvy";*/
						pixel_phase = "uyvy";
						readout_orientation = "0";
						line_length = "2000";
						inherent_gain = "1";
						mclk_multiplier = "18";
						pix_clk_hz = "1200000000";

						min_gain_val = "0";
						max_gain_val = "48"; /* 10.66x */
						step_gain_val = "1";
						default_gain = "16"; /* 1.00x */
						min_hdr_ratio = "1";
						max_hdr_ratio = "1";
						min_framerate = "1"; /* 2.0 fps */
						max_framerate = "75"; /* 21.0 fps */
						step_framerate = "1";
						default_framerate = "21000000"; /* 21.0 fps */
						min_exp_time = "1"; /* us */
						max_exp_time = "43000000"; /* us */

						embedded_metadata_height = "0";
					};
					mode1 { /* AR0521_MODE_1280x720_100FPS */
						mclk_khz = "48000";
						num_lanes = "2";
						tegra_sinterface = "serial_d";
						phy_mode = "DPHY";
						discontinuous_clk = "yes";
						dpcm_enable = "false";
						cil_settletime = "0";
						dynamic_pixel_bit_depth = "16";
						csi_pixel_bit_depth = "16";
						active_w = "1280";
						active_h = "720";
						pixel_phase = "uyvy";
						mode_type = "yuv";
						/*pixel_t = "bayer_rggb";*/
						readout_orientation = "0";
						line_length = "2000";
						inherent_gain = "1";
						mclk_multiplier = "18";
						pix_clk_hz = "1200000000";

						min_gain_val = "0"; /* 1.00x */
						max_gain_val = "48"; /* 10.66x */
						min_hdr_ratio = "1";
						max_hdr_ratio = "1";
						min_framerate = "1"; /* 2.0 fps */
						max_framerate = "100"; /* 28.0 fps */
						min_exp_time = "1"; /* us */
						max_exp_time = "430000"; /* us */

						embedded_metadata_height = "0";
					};
					mode2 { /* AR0521_MODE_1280x960_75FPS */
						mclk_khz = "48000";
						num_lanes = "2";
						tegra_sinterface = "serial_d";
						phy_mode = "DPHY";
						discontinuous_clk = "yes";
						dpcm_enable = "false";
						cil_settletime = "0";
						csi_pixel_bit_depth = "16";
						active_w = "1280";
						active_h = "960";
						/*pixel_t = "uyvy";*/
						pixel_phase = "uyvy";
						mode_type = "yuv";
						readout_orientation = "0";
						line_length = "2000";
						inherent_gain = "1";
						mclk_multiplier = "18";
						pix_clk_hz = "1200000000";

						min_gain_val = "0"; /* 1.00x */
						max_gain_val = "48"; /* 10.66x */
						min_hdr_ratio = "1";
						max_hdr_ratio = "1";
						min_framerate = "1"; /* 2.0 fps */
						max_framerate = "75"; /* 75.0 fps */
						default_framerate = "30000000"; /* 30.0 fps */
						min_exp_time = "13"; /* us */
						max_exp_time = "683709"; /* us */
						step_exp_time = "1";
						embedded_metadata_height = "0";
					};
					mode3 { /* AR0521_MODE_1920x1080_67FPS */
						mclk_khz = "48000";
						num_lanes = "2";
						tegra_sinterface = "serial_d";
						phy_mode = "DPHY";
						discontinuous_clk = "yes";
						dpcm_enable = "false";
						cil_settletime = "0";
						dynamic_pixel_bit_depth = "16";
						csi_pixel_bit_depth = "16";
						active_w = "1920";
						active_h = "1080";
						/* pixel_t = "uyvy";*/
						pixel_phase = "uyvy";
						mode_type = "yuv";
						readout_orientation = "0";
						line_length = "2000";
						inherent_gain = "1";
						mclk_multiplier = "18";
						pix_clk_hz = "1200000000";

						min_gain_val = "0";  /*dB*/
						max_gain_val = "48"; /*dB*/
						min_hdr_ratio = "1";
						max_hdr_ratio = "1";
						min_framerate = "1"; /* 1 fps */
						max_framerate = "67"; /* 67.0 fps */

						min_exp_time = "1";
						max_exp_time = "430000";

						embedded_metadata_height = "0";
					};
					mode4 { /* Ar0521_MODE_2560x1440_38FPS */
						mclk_khz = "48000";
						num_lanes = "2";
						tegra_sinterface = "serial_d";
						phy_mode = "DPHY";
						discontinuous_clk = "yes";
						dpcm_enable = "false";
						cil_settletime = "0";
						dynamic_pixel_bit_depth = "16";
						csi_pixel_bit_depth = "16";
						active_w = "2560";
						active_h = "1440";
						/* pixel_t = "uyvy"; */
						mode_type = "yuv";
						pixel_phase = "uyvy";
						readout_orientation = "0";
						line_length = "2000";
						inherent_gain = "1";
						mclk_multiplier = "18";
						pix_clk_hz = "1200000000";

						min_gain_val = "0";
						max_gain_val = "48"; /*dB*/
						min_hdr_ratio = "1";
						max_hdr_ratio = "1";
						min_framerate = "1"; /* 1 fps */
						max_framerate = "38"; /* 38fps */
						min_exp_time = "1"; /* us */
						max_exp_time = "430000"; /* us */
						embedded_metadata_height = "0";
					};
					mode5 { /* Ar0521_MODE_2592x1944_28FPS */
						mclk_khz = "48000";
						num_lanes = "2";
						tegra_sinterface = "serial_d";
						phy_mode = "DPHY";
						discontinuous_clk = "yes";
						dpcm_enable = "false";
						cil_settletime = "0";
						dynamic_pixel_bit_depth = "16";
						csi_pixel_bit_depth = "16";
						active_w = "2592";
						active_h = "1944";
						/* pixel_t = "uyvy"; */
						mode_type = "yuv";
						pixel_phase = "uyvy";
						readout_orientation = "0";
						line_length = "2000";
						inherent_gain = "1";
						mclk_multiplier = "18";
						pix_clk_hz = "1200000000";

						min_gain_val = "0";
						max_gain_val = "48"; /*dB*/
						min_hdr_ratio = "1";
						max_hdr_ratio = "1";
						min_framerate = "1"; /* 1 fps */
						max_framerate = "28"; /* 38fps */
						min_exp_time = "1"; /* us */
						max_exp_time = "430000"; /* us */
						embedded_metadata_height = "0";
					};

					ports {
						#address-cells = <1>;
						#size-cells = <0>;

						port@0 {
							reg = <0>;
							dsboard_xv2_ar0521_out3: endpoint {
								port-index = <3>;
								bus-width = <2>;
								remote-endpoint = <&dsboard_xv2_csi_in3>;
							};
						};
					};
				};
			};

			i2c@4 {
				ar0521_e@42 {
					compatible = "nvidia,ar0521";
					/* I2C device address */
					reg = <0x42>;

					/* V4L2 device node location */
					devnode = "video4";
					status = "okay";

					/* Physical dimensions of sensor */
					physical_w = "3.680";
					physical_h = "2.760";

					sensor_model = "ar0521";
					camera_mipi_lanes = <2>;
					disable-framesync;
					// Default use_sensor_mode_id is false
					/*use_sensor_mode_id = "false";*/

					/**
					* ==== Modes ====
					* A modeX node is required to support v4l2 driver
					* implementation with NVIDIA camera software stack
					*
					* == Signal properties ==
					*
					* phy_mode = "";
					* PHY mode used by the MIPI lanes for this device
					*
					* tegra_sinterface = "";
					* CSI Serial interface connected to tegra
					* Incase of virtual HW devices, use virtual
					* For SW emulated devices, use host
					*
					* pix_clk_hz = "";
					* Sensor pixel clock used for calculations like exposure and framerate
					*
					* readout_orientation = "0";
					* Based on camera module orientation.
					* Only change readout_orientation if you specifically
					* Program a different readout order for this mode
					*
					* == Image format Properties ==
					*
					* active_w = "";
					* Pixel active region width
					*
					* active_h = "";
					* Pixel active region height
					*
					* pixel_t = "";
					* The sensor readout pixel pattern
					*
					* line_length = "";
					* Pixel line length (width) for sensor mode.
					*
					* == Source Control Settings ==
					*
					* Gain factor used to convert fixed point integer to float
					* Gain range [min_gain/gain_factor, max_gain/gain_factor]
					* Gain step [step_gain/gain_factor is the smallest step that can be configured]
					* Default gain [Default gain to be initialized for the control.
					*     use min_gain_val as default for optimal results]
					* Framerate factor used to convert fixed point integer to float
					* Framerate range [min_framerate/framerate_factor, max_framerate/framerate_factor]
					* Framerate step [step_framerate/framerate_factor is the smallest step that can be configured]
					* Default Framerate [Default framerate to be initialized for the control.
					*     use max_framerate to get required performance]
					* Exposure factor used to convert fixed point integer to float
					* For convenience use 1 sec = 1000000us as conversion factor
					* Exposure range [min_exp_time/exposure_factor, max_exp_time/exposure_factor]
					* Exposure step [step_exp_time/exposure_factor is the smallest step that can be configured]
					* Default Exposure Time [Default exposure to be initialized for the control.
					*     Set default exposure based on the default_framerate for optimal exposure settings]
					*
					* gain_factor = ""; (integer factor used for floating to fixed point conversion)
					* min_gain_val = ""; (ceil to integer)
					* max_gain_val = ""; (ceil to integer)
					* step_gain_val = ""; (ceil to integer)
					* default_gain = ""; (ceil to integer)
					* Gain limits for mode
					*
					* exposure_factor = ""; (integer factor used for floating to fixed point conversion)
					* min_exp_time = ""; (ceil to integer)
					* max_exp_time = ""; (ceil to integer)
					* step_exp_time = ""; (ceil to integer)
					* default_exp_time = ""; (ceil to integer)
					* Exposure Time limits for mode (sec)
					*
					* framerate_factor = ""; (integer factor used for floating to fixed point conversion)
					* min_framerate = ""; (ceil to integer)
					* max_framerate = ""; (ceil to integer)
					* step_framerate = ""; (ceil to integer)
					* default_framerate = ""; (ceil to integer)
					* Framerate limits for mode (fps)
					*
					* embedded_metadata_height = "";
					* Sensor embedded metadata height in units of rows.
					* If sensor does not support embedded metadata value should be 0.
					*/
					mode0 { /* AR0521_MODE_640x480_75FPS */
						mclk_khz = "48000";
						num_lanes = "2";
						tegra_sinterface = "serial_e";
						phy_mode = "DPHY";
						discontinuous_clk = "yes";
						dpcm_enable = "false";
						cil_settletime = "0";
						dynamic_pixel_bit_depth = "16";
						csi_pixel_bit_depth = "16";
						mode_type = "yuv";

						active_w = "640";
						active_h = "480";
						/* pixel_t = "uyvy";*/
						pixel_phase = "uyvy";
						readout_orientation = "0";
						line_length = "2000";
						inherent_gain = "1";
						mclk_multiplier = "18";
						pix_clk_hz = "1200000000";

						min_gain_val = "0";
						max_gain_val = "48"; /* 10.66x */
						step_gain_val = "1";
						default_gain = "16"; /* 1.00x */
						min_hdr_ratio = "1";
						max_hdr_ratio = "1";
						min_framerate = "1"; /* 2.0 fps */
						max_framerate = "75"; /* 21.0 fps */
						step_framerate = "1";
						default_framerate = "21000000"; /* 21.0 fps */
						min_exp_time = "1"; /* us */
						max_exp_time = "43000000"; /* us */

						embedded_metadata_height = "0";
					};
					mode1 { /* AR0521_MODE_1280x720_100FPS */
						mclk_khz = "48000";
						num_lanes = "2";
						tegra_sinterface = "serial_e";
						phy_mode = "DPHY";
						discontinuous_clk = "yes";
						dpcm_enable = "false";
						cil_settletime = "0";
						dynamic_pixel_bit_depth = "16";
						csi_pixel_bit_depth = "16";
						active_w = "1280";
						active_h = "720";
						pixel_phase = "uyvy";
						mode_type = "yuv";
						/*pixel_t = "bayer_rggb";*/
						readout_orientation = "0";
						line_length = "2000";
						inherent_gain = "1";
						mclk_multiplier = "18";
						pix_clk_hz = "1200000000";

						min_gain_val = "0"; /* 1.00x */
						max_gain_val = "48"; /* 10.66x */
						min_hdr_ratio = "1";
						max_hdr_ratio = "1";
						min_framerate = "1"; /* 2.0 fps */
						max_framerate = "100"; /* 28.0 fps */
						min_exp_time = "1"; /* us */
						max_exp_time = "430000"; /* us */

						embedded_metadata_height = "0";
					};
					mode2 { /* AR0521_MODE_1280x960_75FPS */
						mclk_khz = "48000";
						num_lanes = "2";
						tegra_sinterface = "serial_e";
						phy_mode = "DPHY";
						discontinuous_clk = "yes";
						dpcm_enable = "false";
						cil_settletime = "0";
						csi_pixel_bit_depth = "16";
						active_w = "1280";
						active_h = "960";
						/*pixel_t = "uyvy";*/
						pixel_phase = "uyvy";
						mode_type = "yuv";
						readout_orientation = "0";
						line_length = "2000";
						inherent_gain = "1";
						mclk_multiplier = "18";
						pix_clk_hz = "1200000000";

						min_gain_val = "0"; /* 1.00x */
						max_gain_val = "48"; /* 10.66x */
						min_hdr_ratio = "1";
						max_hdr_ratio = "1";
						min_framerate = "1"; /* 2.0 fps */
						max_framerate = "75"; /* 75.0 fps */
						default_framerate = "30000000"; /* 30.0 fps */
						min_exp_time = "13"; /* us */
						max_exp_time = "683709"; /* us */
						step_exp_time = "1";
						embedded_metadata_height = "0";
					};
					mode3 { /* AR0521_MODE_1920x1080_67FPS */
						mclk_khz = "48000";
						num_lanes = "2";
						tegra_sinterface = "serial_e";
						phy_mode = "DPHY";
						discontinuous_clk = "yes";
						dpcm_enable = "false";
						cil_settletime = "0";
						dynamic_pixel_bit_depth = "16";
						csi_pixel_bit_depth = "16";
						active_w = "1920";
						active_h = "1080";
						/* pixel_t = "uyvy";*/
						pixel_phase = "uyvy";
						mode_type = "yuv";
						readout_orientation = "0";
						line_length = "2000";
						inherent_gain = "1";
						mclk_multiplier = "18";
						pix_clk_hz = "1200000000";

						min_gain_val = "0";  /*dB*/
						max_gain_val = "48"; /*dB*/
						min_hdr_ratio = "1";
						max_hdr_ratio = "1";
						min_framerate = "1"; /* 1 fps */
						max_framerate = "67"; /* 67.0 fps */

						min_exp_time = "1";
						max_exp_time = "430000";

						embedded_metadata_height = "0";
					};
					mode4 { /* Ar0521_MODE_2560x1440_38FPS */
						mclk_khz = "48000";
						num_lanes = "2";
						tegra_sinterface = "serial_e";
						phy_mode = "DPHY";
						discontinuous_clk = "yes";
						dpcm_enable = "false";
						cil_settletime = "0";
						dynamic_pixel_bit_depth = "16";
						csi_pixel_bit_depth = "16";
						active_w = "2560";
						active_h = "1440";
						/* pixel_t = "uyvy"; */
						mode_type = "yuv";
						pixel_phase = "uyvy";
						readout_orientation = "0";
						line_length = "2000";
						inherent_gain = "1";
						mclk_multiplier = "18";
						pix_clk_hz = "1200000000";

						min_gain_val = "0";
						max_gain_val = "48"; /*dB*/
						min_hdr_ratio = "1";
						max_hdr_ratio = "1";
						min_framerate = "1"; /* 1 fps */
						max_framerate = "38"; /* 38fps */
						min_exp_time = "1"; /* us */
						max_exp_time = "430000"; /* us */
						embedded_metadata_height = "0";
					};
					mode5 { /* Ar0521_MODE_2592x1944_28FPS */
						mclk_khz = "48000";
						num_lanes = "2";
						tegra_sinterface = "serial_e";
						phy_mode = "DPHY";
						discontinuous_clk = "yes";
						dpcm_enable = "false";
						cil_settletime = "0";
						dynamic_pixel_bit_depth = "16";
						csi_pixel_bit_depth = "16";
						active_w = "2592";
						active_h = "1944";
						/* pixel_t = "uyvy"; */
						mode_type = "yuv";
						pixel_phase = "uyvy";
						readout_orientation = "0";
						line_length = "2000";
						inherent_gain = "1";
						mclk_multiplier = "18";
						pix_clk_hz = "1200000000";

						min_gain_val = "0";
						max_gain_val = "48"; /*dB*/
						min_hdr_ratio = "1";
						max_hdr_ratio = "1";
						min_framerate = "1"; /* 1 fps */
						max_framerate = "28"; /* 38fps */
						min_exp_time = "1"; /* us */
						max_exp_time = "430000"; /* us */
						embedded_metadata_height = "0";
					};

					ports {
						#address-cells = <1>;
						#size-cells = <0>;

						port@0 {
							reg = <0>;
							dsboard_xv2_ar0521_out4: endpoint {
								port-index = <4>;
								bus-width = <2>;
								remote-endpoint = <&dsboard_xv2_csi_in4>;
							};
						};
					};
				};
			};

			i2c@5 {
				ar0521_f@42 {
					status="disabled";
					compatible = "nvidia,ar0521";
					/* I2C device address */
					reg = <0x42>;

					/* V4L2 device node location */
					devnode = "video5";

					/* Physical dimensions of sensor */
					physical_w = "3.680";
					physical_h = "2.760";

					sensor_model = "ar0521";
					camera_mipi_lanes = <2>;
					disable-framesync;
					// Default use_sensor_mode_id is false
					/*use_sensor_mode_id = "false";*/

					/**
					* ==== Modes ====
					* A modeX node is required to support v4l2 driver
					* implementation with NVIDIA camera software stack
					*
					* == Signal properties ==
					*
					* phy_mode = "";
					* PHY mode used by the MIPI lanes for this device
					*
					* tegra_sinterface = "";
					* CSI Serial interface connected to tegra
					* Incase of virtual HW devices, use virtual
					* For SW emulated devices, use host
					*
					* pix_clk_hz = "";
					* Sensor pixel clock used for calculations like exposure and framerate
					*
					* readout_orientation = "0";
					* Based on camera module orientation.
					* Only change readout_orientation if you specifically
					* Program a different readout order for this mode
					*
					* == Image format Properties ==
					*
					* active_w = "";
					* Pixel active region width
					*
					* active_h = "";
					* Pixel active region height
					*
					* pixel_t = "";
					* The sensor readout pixel pattern
					*
					* line_length = "";
					* Pixel line length (width) for sensor mode.
					*
					* == Source Control Settings ==
					*
					* Gain factor used to convert fixed point integer to float
					* Gain range [min_gain/gain_factor, max_gain/gain_factor]
					* Gain step [step_gain/gain_factor is the smallest step that can be configured]
					* Default gain [Default gain to be initialized for the control.
					*     use min_gain_val as default for optimal results]
					* Framerate factor used to convert fixed point integer to float
					* Framerate range [min_framerate/framerate_factor, max_framerate/framerate_factor]
					* Framerate step [step_framerate/framerate_factor is the smallest step that can be configured]
					* Default Framerate [Default framerate to be initialized for the control.
					*     use max_framerate to get required performance]
					* Exposure factor used to convert fixed point integer to float
					* For convenience use 1 sec = 1000000us as conversion factor
					* Exposure range [min_exp_time/exposure_factor, max_exp_time/exposure_factor]
					* Exposure step [step_exp_time/exposure_factor is the smallest step that can be configured]
					* Default Exposure Time [Default exposure to be initialized for the control.
					*     Set default exposure based on the default_framerate for optimal exposure settings]
					*
					* gain_factor = ""; (integer factor used for floating to fixed point conversion)
					* min_gain_val = ""; (ceil to integer)
					* max_gain_val = ""; (ceil to integer)
					* step_gain_val = ""; (ceil to integer)
					* default_gain = ""; (ceil to integer)
					* Gain limits for mode
					*
					* exposure_factor = ""; (integer factor used for floating to fixed point conversion)
					* min_exp_time = ""; (ceil to integer)
					* max_exp_time = ""; (ceil to integer)
					* step_exp_time = ""; (ceil to integer)
					* default_exp_time = ""; (ceil to integer)
					* Exposure Time limits for mode (sec)
					*
					* framerate_factor = ""; (integer factor used for floating to fixed point conversion)
					* min_framerate = ""; (ceil to integer)
					* max_framerate = ""; (ceil to integer)
					* step_framerate = ""; (ceil to integer)
					* default_framerate = ""; (ceil to integer)
					* Framerate limits for mode (fps)
					*
					* embedded_metadata_height = "";
					* Sensor embedded metadata height in units of rows.
					* If sensor does not support embedded metadata value should be 0.
					*/
					mode0 { /* AR0521_MODE_640x480_75FPS */
						mclk_khz = "48000";
						num_lanes = "2";
						tegra_sinterface = "serial_f";
						phy_mode = "DPHY";
						discontinuous_clk = "yes";
						dpcm_enable = "false";
						cil_settletime = "0";
						dynamic_pixel_bit_depth = "16";
						csi_pixel_bit_depth = "16";
						mode_type = "yuv";

						active_w = "640";
						active_h = "480";
						/* pixel_t = "uyvy";*/
						pixel_phase = "uyvy";
						readout_orientation = "0";
						line_length = "2000";
						inherent_gain = "1";
						mclk_multiplier = "18";
						pix_clk_hz = "1200000000";

						min_gain_val = "0";
						max_gain_val = "48"; /* 10.66x */
						step_gain_val = "1";
						default_gain = "16"; /* 1.00x */
						min_hdr_ratio = "1";
						max_hdr_ratio = "1";
						min_framerate = "1"; /* 2.0 fps */
						max_framerate = "75"; /* 21.0 fps */
						step_framerate = "1";
						default_framerate = "21000000"; /* 21.0 fps */
						min_exp_time = "1"; /* us */
						max_exp_time = "43000000"; /* us */

						embedded_metadata_height = "0";
					};
					mode1 { /* AR0521_MODE_1280x720_100FPS */
						mclk_khz = "48000";
						num_lanes = "2";
						tegra_sinterface = "serial_f";
						phy_mode = "DPHY";
						discontinuous_clk = "yes";
						dpcm_enable = "false";
						cil_settletime = "0";
						dynamic_pixel_bit_depth = "16";
						csi_pixel_bit_depth = "16";
						active_w = "1280";
						active_h = "720";
						pixel_phase = "uyvy";
						mode_type = "yuv";
						/*pixel_t = "bayer_rggb";*/
						readout_orientation = "0";
						line_length = "2000";
						inherent_gain = "1";
						mclk_multiplier = "18";
						pix_clk_hz = "1200000000";

						min_gain_val = "0"; /* 1.00x */
						max_gain_val = "48"; /* 10.66x */
						min_hdr_ratio = "1";
						max_hdr_ratio = "1";
						min_framerate = "1"; /* 2.0 fps */
						max_framerate = "100"; /* 28.0 fps */
						min_exp_time = "1"; /* us */
						max_exp_time = "430000"; /* us */

						embedded_metadata_height = "0";
					};
					mode2 { /* AR0521_MODE_1280x960_75FPS */
						mclk_khz = "48000";
						num_lanes = "2";
						tegra_sinterface = "serial_f";
						phy_mode = "DPHY";
						discontinuous_clk = "yes";
						dpcm_enable = "false";
						cil_settletime = "0";
						csi_pixel_bit_depth = "16";
						active_w = "1280";
						active_h = "960";
						/*pixel_t = "uyvy";*/
						pixel_phase = "uyvy";
						mode_type = "yuv";
						readout_orientation = "0";
						line_length = "2000";
						inherent_gain = "1";
						mclk_multiplier = "18";
						pix_clk_hz = "1200000000";

						min_gain_val = "0"; /* 1.00x */
						max_gain_val = "48"; /* 10.66x */
						min_hdr_ratio = "1";
						max_hdr_ratio = "1";
						min_framerate = "1"; /* 2.0 fps */
						max_framerate = "75"; /* 75.0 fps */
						default_framerate = "30000000"; /* 30.0 fps */
						min_exp_time = "13"; /* us */
						max_exp_time = "683709"; /* us */
						step_exp_time = "1";
						embedded_metadata_height = "0";
					};
					mode3 { /* AR0521_MODE_1920x1080_67FPS */
						mclk_khz = "48000";
						num_lanes = "2";
						tegra_sinterface = "serial_f";
						phy_mode = "DPHY";
						discontinuous_clk = "yes";
						dpcm_enable = "false";
						cil_settletime = "0";
						dynamic_pixel_bit_depth = "16";
						csi_pixel_bit_depth = "16";
						active_w = "1920";
						active_h = "1080";
						/* pixel_t = "uyvy";*/
						pixel_phase = "uyvy";
						mode_type = "yuv";
						readout_orientation = "0";
						line_length = "2000";
						inherent_gain = "1";
						mclk_multiplier = "18";
						pix_clk_hz = "1200000000";

						min_gain_val = "0";  /*dB*/
						max_gain_val = "48"; /*dB*/
						min_hdr_ratio = "1";
						max_hdr_ratio = "1";
						min_framerate = "1"; /* 1 fps */
						max_framerate = "67"; /* 67.0 fps */

						min_exp_time = "1";
						max_exp_time = "430000";

						embedded_metadata_height = "0";
					};
					mode4 { /* Ar0521_MODE_2560x1440_38FPS */
						mclk_khz = "48000";
						num_lanes = "2";
						tegra_sinterface = "serial_f";
						phy_mode = "DPHY";
						discontinuous_clk = "yes";
						dpcm_enable = "false";
						cil_settletime = "0";
						dynamic_pixel_bit_depth = "16";
						csi_pixel_bit_depth = "16";
						active_w = "2560";
						active_h = "1440";
						/* pixel_t = "uyvy"; */
						mode_type = "yuv";
						pixel_phase = "uyvy";
						readout_orientation = "0";
						line_length = "2000";
						inherent_gain = "1";
						mclk_multiplier = "18";
						pix_clk_hz = "1200000000";

						min_gain_val = "0";
						max_gain_val = "48"; /*dB*/
						min_hdr_ratio = "1";
						max_hdr_ratio = "1";
						min_framerate = "1"; /* 1 fps */
						max_framerate = "38"; /* 38fps */
						min_exp_time = "1"; /* us */
						max_exp_time = "430000"; /* us */
						embedded_metadata_height = "0";
					};
					mode5 { /* Ar0521_MODE_2592x1944_28FPS */
						mclk_khz = "48000";
						num_lanes = "2";
						tegra_sinterface = "serial_f";
						phy_mode = "DPHY";
						discontinuous_clk = "yes";
						dpcm_enable = "false";
						cil_settletime = "0";
						dynamic_pixel_bit_depth = "16";
						csi_pixel_bit_depth = "16";
						active_w = "2592";
						active_h = "1944";
						/* pixel_t = "uyvy"; */
						mode_type = "yuv";
						pixel_phase = "uyvy";
						readout_orientation = "0";
						line_length = "2000";
						inherent_gain = "1";
						mclk_multiplier = "18";
						pix_clk_hz = "1200000000";

						min_gain_val = "0";
						max_gain_val = "48"; /*dB*/
						min_hdr_ratio = "1";
						max_hdr_ratio = "1";
						min_framerate = "1"; /* 1 fps */
						max_framerate = "28"; /* 38fps */
						min_exp_time = "1"; /* us */
						max_exp_time = "430000"; /* us */
						embedded_metadata_height = "0";
					};

					ports {
						#address-cells = <1>;
						#size-cells = <0>;

						port@0 {
							reg = <0>;
							dsboard_xv2_ar0521_out5: endpoint {
								port-index = <5>;
								bus-width = <2>;
								remote-endpoint = <&dsboard_xv2_csi_in5>;
							};
						};
					};
				};
			};
		};
	};

	tegra-camera-platform {
		compatible = "nvidia, tegra-camera-platform";
		/**
		* Physical settings to calculate max ISO BW
		*
		* num_csi_lanes = <>;
		* Total number of CSI lanes when all cameras are active
		*
		* max_lane_speed = <>;
		* Max lane speed in Kbit/s
		*
		* min_bits_per_pixel = <>;
		* Min bits per pixel
		*
		* vi_peak_byte_per_pixel = <>;
		* Max byte per pixel for the VI ISO case
		*
		* vi_bw_margin_pct = <>;
		* Vi bandwidth margin in percentage
		*
		* max_pixel_rate = <>;
		* Max pixel rate in Kpixel/s for the ISP ISO case
		* Set this to the highest pix_clk_hz out of all available modes.
		*
		* isp_peak_byte_per_pixel = <>;
		* Max byte per pixel for the ISP ISO case
		*
		* isp_bw_margin_pct = <>;
		* Isp bandwidth margin in percentage
		*/
		num_csi_lanes = <10>;
		max_lane_speed = <2500000>;
		min_bits_per_pixel = <10>;
		vi_peak_byte_per_pixel = <2>;
		vi_bw_margin_pct = <67>;
		//max_pixel_rate = <240000>;
		//isp_peak_byte_per_pixel = <5>;
		//isp_bw_margin_pct = <25>;

		/**
		* The general guideline for naming badge_info contains 3 parts, and is as follows,
		* The first part is the camera_board_id for the module; if the module is in a FFD
		* platform, then use the platform name for this part.
		* The second part contains the position of the module, ex. “rear” or “front”.
		* The third part contains the last 6 characters of a part number which is found
		* in the module's specsheet from the vender.
		*/
		modules {
			module0 {
				status = "okay";
				badge = "dsboard_xv2_bottomleft_ar0521";
				position = "bottomleft";
				orientation = "1";
				drivernode0 {
					status = "okay";
					pcl_id = "v4l2_sensor";
					devname = "ar0521 30-0042";
					proc-device-tree = "/proc/device-tree/i2c@3180000/tca9548@70/i2c@0/ar0521_a@42";
				};
			};
			module1 {
				status = "disabled";
				badge = "dsboard_xv2_centerleft_ar0521";
				position = "centerleft";
				orientation = "1";
				drivernode0 {
					status = "disabled";
					pcl_id = "v4l2_sensor";
					devname = "ar0521 31-0042";
					proc-device-tree = "/proc/device-tree/i2c@3180000/tca9548@70/i2c@1/ar0521_b@42";
				};
			};
			module2 {
				status = "okay";
				badge = "dsboard_xv2_centerright_ar0521";
				position = "centerright";
				orientation = "1";
				drivernode0 {
					status = "okay";
					pcl_id = "v4l2_sensor";
					devname = "ar0521 32-0042";
					proc-device-tree = "/proc/device-tree/i2c@3180000/tca9548@70/i2c@2/ar0521_c@42";
				};
			};
			module3 {
				status = "disabled";
				badge = "dsboard_xv2_topleft_ar0521";
				position = "topleft";
				orientation = "1";
				drivernode0 {
					status = "disabled";
					pcl_id = "v4l2_sensor";
					devname = "ar0521 33-0042";
					proc-device-tree = "/proc/device-tree/i2c@3180000/tca9548@70/i2c@3/ar0521_d@42";
				};
			};
			module4 {
				status = "okay";
				badge = "dsboard_xv2_bottomright_ar0521";
				position = "bottomright";
				orientation = "1";
				drivernode0 {
					status = "okay";
					pcl_id = "v4l2_sensor";
					devname = "ar0521 34-0042";
					proc-device-tree = "/proc/device-tree/i2c@3180000/tca9548@70/i2c@4/ar0521_e@42";
				};
			};
			module5 {
				status = "disabled";
				badge = "dsboard_xv2_topright_ar0521";
				position = "topright";
				orientation = "1";
				drivernode0 {
					status = "disabled";
					pcl_id = "v4l2_sensor";
					devname = "ar0521 35-0042";
					proc-device-tree = "/proc/device-tree/i2c@3180000/tca9548@70/i2c@5/ar0521_f@42";
				};
			};
		};
	};
};
